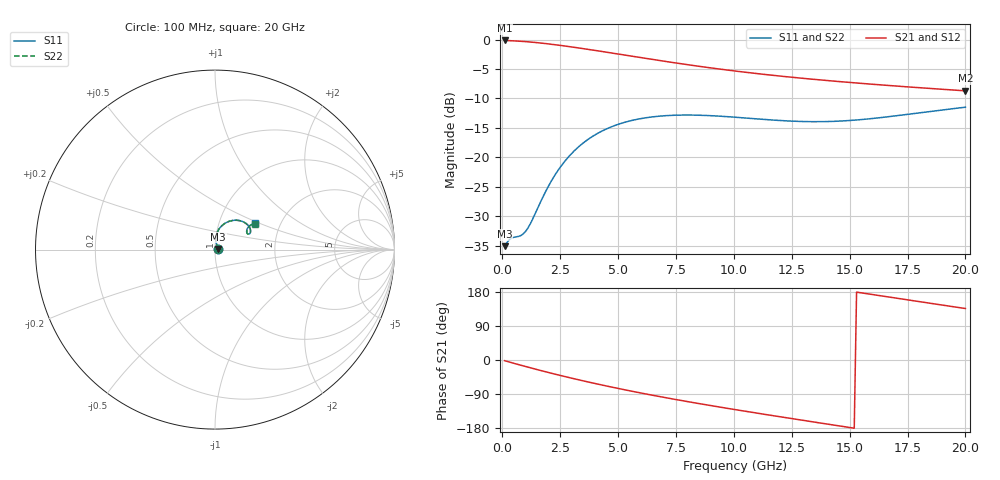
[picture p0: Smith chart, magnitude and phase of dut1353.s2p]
! Touchstone file exported from HFSS 2024.1.0
!  File:  C:/UserFiles/LocalFiles/RDL_TSV_Batchsim/temp_RDL_TSV_1353_1780394574.aedt
!  Generated:  06:16:46 PM Jun  2, 2026
!  Design:  RDL_TSV
!  Project:  temp_RDL_TSV_1353_1780394574
!  Setup:  Setup1
!  Solution:  Sweep
! Variables:
!  dtsv = 8.55um
!  hbump = 3um
!  htsv = 57.96um
!  ldown = 410.54um
!  lrdl = 593.13um
!  p = 40
!  p1 = 40.14um
!  rhole = 10um
!  subl = 3604.14um
!  t = 450um
!  tdown = 3.6um
!  trdl = 3.26um
!  viad = 10um
!  wdown = 20.39um
!  wrdl = 24.47um
!  xbump = 18um
# GHz S MA R 50.000000
! Terminal data exported
! Port[1] = TM1_1_T1
! Port[2] = TM1_4_T1
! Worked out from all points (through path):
!   200 points, 100 MHz to 20 GHz, reference 50 ohm
!   highest |S21| = -0.16 dB at 100 MHz (marker M1); lowest = -8.7 dB at 20 GHz (marker M2)
!   group delay of S21, straight-line fit = 29.8 ps
!   lowest |S11| = -35.1 dB at 100 MHz (marker M3), VSWR 1.04, Z = 51.8 + j0.3 ohm
!   |S11| at or under -10 dB: start of sweep to end of sweep
!   |S22| runs from -35.1 to -11.5 dB; largest |S21 - S12| = 3e-14
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0.1  0.01768 9.4  0.9823 -1.8  0.9823 -1.8  0.01768 9.4
! Gamma 0 0 0 0
! Port Impedance 50 0 50 0
0.3  0.02004 20.0  0.9787 -5.3  0.9787 -5.3  0.02004 20.0
0.4  0.0207 23.4  0.9766 -7.0  0.9766 -7.0  0.0207 23.4
0.8  0.02175 42.3  0.9667 -13.8  0.9667 -13.8  0.02176 42.2
1  0.0235 54.8  0.9605 -17.1  0.9605 -17.1  0.02351 54.8
1.2  0.02713 66.5  0.9534 -20.4  0.9534 -20.4  0.02713 66.5
1.7  0.04391 83.0  0.9324 -28.4  0.9324 -28.4  0.04389 83.0
2.3  0.07227 85.8  0.9028 -37.7  0.9028 -37.7  0.07222 85.7
2.9  0.1032 81.6  0.8706 -46.6  0.8706 -46.6  0.1031 81.6
3.5  0.1329 75.3  0.8373 -55.1  0.8373 -55.1  0.1328 75.2
4.2  0.1633 67.3  0.7981 -64.7  0.7981 -64.7  0.1632 67.2
5  0.1908 58.5  0.7541 -75.0  0.7541 -75.0  0.1907 58.4
5.8  0.2102 50.5  0.7121 -84.9  0.7121 -84.9  0.21 50.4
6.8  0.2241 42.0  0.6636 -96.6  0.6636 -96.6  0.224 41.9
8.4  0.2284 31.8  0.5965 -114.0  0.5965 -114.0  0.2282 31.8
10.1  0.2191 25.9  0.5394 -131.4  0.5394 -131.4  0.2189 25.8
11.7  0.2074 24.6  0.4968 -147.0  0.4968 -147.0  0.2073 24.5
13.4  0.2011 27.0  0.4606 -163.1  0.4606 -163.1  0.2008 26.9
15  0.2057 30.8  0.4327 -178.1  0.4327 -178.1  0.2054 30.7
16.7  0.2218 33.8  0.4075 166.1  0.4075 166.1  0.2213 33.7
18.4  0.2446 34.5  0.3856 150.4  0.3856 150.4  0.2439 34.4
20  0.2667 33.2  0.3674 135.9  0.3674 135.9  0.2658 33.0
